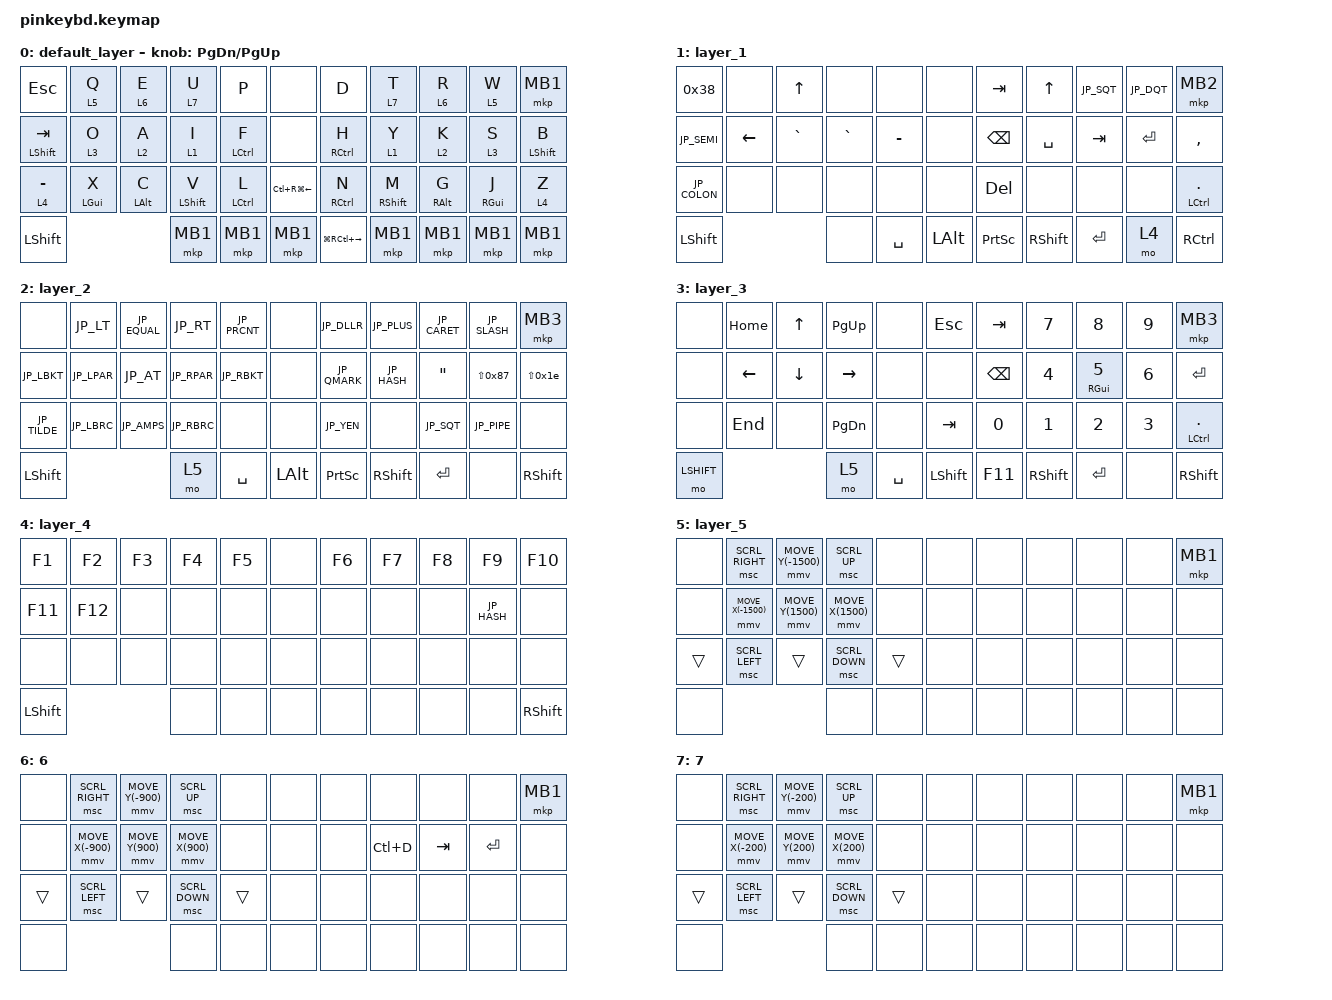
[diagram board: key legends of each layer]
#include "keycode_japanese.h"

#include "pinkeybd-layer.dtsi"
#include <input/processors.dtsi>
#include <behaviors.dtsi>
#include <dt-bindings/zmk/bt.h>
#include <dt-bindings/zmk/keys.h>
#include <dt-bindings/zmk/pointing.h>
#include "pinkeybd-layouts.dtsi"



#define ZMK_POINTING_DEFAULT_SCRL_VAL 80

&msc {
    acceleration-exponent = <0>;      // 0
    time-to-max-speed-ms = <0>;       // 300
    delay-ms = <0>;                   // 0
};

&mmv {
    time-to-max-speed-ms = <0>;
    acceleration-exponent = <0>;
    trigger-period-ms = <10>;
    delay-ms = <0>;
};

&mt { 
    flavor = "balanced"; 
    tapping-term-ms = <200>;
    quick-tap-ms = <150>; 
};

&lt {
    flavor = "balanced";
    tapping-term-ms = <200>; 
    quick-tap-ms = <150>; 
};

//    0  1  2  3  4  5              6  7  8  9  10 
//    11 12 13 14 15 16             17 18 19 20 21
//    22 23 24 25 26 27          37 28 29 30 31 32 
//    33       34 35 36             38 39 40 	41




/ {
    combos { compatible = "zmk,combos"; 

        lang {
            bindings = <&kp GRAVE>;
            key-positions = <1 3>;
            layers = <0>;
            timeout-ms = <200>;
        };

        fopen {
            bindings = <&kp LG(N2)>;
            key-positions = <6 10>;
            layers = <0>;
            timeout-ms = <200>;
        };

       bootloader_R {
            bindings = <&bootloader>;
            key-positions = <6 10 28 32>;
            timeout-ms = <200>;
        };

       bootloader_L {
            bindings = <&bootloader>;
            key-positions = <0 4 22 26>;
            timeout-ms = <200>;
        };

        eq {
            bindings = <&bt BT_CLR_ALL>;
            key-positions = <0 11 22>;
            timeout-ms = <50>;
            layers = <0>;
        };

        bt0 {
            bindings = <&bt BT_SEL 0>;
            key-positions = <6 17 28>;
            timeout-ms = <50>;
            layers = <0>;
        };

        bt1 {
            bindings = <&bt BT_SEL 1>;
            key-positions = <7 18 29>;
            layers = <0>;
        };

        bt2 {
            bindings = <&bt BT_SEL 2>;
            key-positions = <8 19 33>;
            layers = <0>;
        };

        mute {
            bindings = <&kp C_MUTE>;
            key-positions = <14 15>;
            layers = <0>;
        };

        vup {
            bindings = <&kp C_VOL_UP>;
            key-positions = <3 4>;
            layers = <0>;
        };

        vdn {
            bindings = <&kp C_VOL_DN>;
            key-positions = <25 26>;
            layers = <0>;
        };

        printscreen {
            bindings = <&kp PSCRN>;
            key-positions = <23 25>;
            layers = <0>;
        };


     };

};


/ {
    behaviors {
        rot_kp: sensor_rotate_kp {
            compatible = "zmk,behavior-sensor-rotate-var";
            #sensor-binding-cells = <2>;
            bindings = <&kp>, <&kp>;
        };
    };

    keymap {
        compatible = "zmk,keymap";


        default_layer {
            bindings = <
                &kp ESCAPE      &lt 5 Q    &lt 6 E    &lt 7 U       &kp P        &none                            &kp D        &lt 7 T       &lt 6 R     &lt 5 W     &mkp MB1
                &mt LSHIFT TAB  &lt 3 O    &lt 2 A    &lt 1 I       &mt LCTRL F  &none                            &mt RCTRL H  &lt 1 Y       &lt 2 K     &lt 3 S     &mt LEFT_SHIFT B
                &lt 4 MINUS     &mt LGUI X &mt LALT C &mt LSHIFT V  &mt LCTRL L  &kp LC(RG(LEFT))                 &mt RCTRL N  &mt RSHIFT M  &mt RALT G  &mt RGUI J  &lt 4 Z

                &kp LSHIFT                            &mkp MB1  &mkp MB1  &mkp MB1   &kp LG(RC(RIGHT))       &mkp MB1  &mkp MB1     &mkp MB1  &mkp MB1

            >;
            sensor-bindings = <&rot_kp PG_DN PG_UP>;
        };
    

        layer_1 {
            bindings = <
                &kp 0x38      &none      &kp UP     &none      &none      &none               &kp TAB        &kp UP     &kp JP_SQT  &kp JP_DQT  &mkp MB2
                &kp JP_SEMI   &kp LEFT   &kp GRAVE  &kp GRAVE  &kp MINUS  &none               &kp BACKSPACE  &kp SPACE  &kp TAB     &kp ENTER   &kp COMMA
                &kp JP_COLON  &none      &none      &none      &none      &none               &kp DELETE     &none      &none       &none       &mt LCTRL PERIOD
                
                &kp LSHIFT                              &none           &kp SPACE           &kp LALT            &kp PSCRN   &kp RSHIFT        &kp ENTER     &mo 4                &kp RCTRL
            >;  
        };

     
        layer_2 {
            bindings = <
            &none        &kp JP_LT      &kp JP_EQUAL   &kp JP_RT    &kp JP_PRCNT     &none                          &kp JP_DLLR   &kp JP_PLUS  &kp JP_CARET      &kp JP_SLASH  &mkp MB3
            &kp JP_LBKT  &kp JP_LPAR    &kp JP_AT      &kp JP_RPAR  &kp JP_RBKT      &none                          &kp JP_QMARK  &kp JP_HASH  &kp DOUBLE_QUOTES &kp LS(0x87)  &kp LS(0x1e)
            &kp JP_TILDE &kp JP_LBRC    &kp JP_AMPS    &kp JP_RBRC  &none            &none                          &kp JP_YEN    &none        &kp JP_SQT        &kp JP_PIPE   &none
                &kp LSHIFT                             &mo 5             &kp SPACE           &kp LALT                &kp PSCRN   &kp RSHIFT      &kp ENTER    &none                          &kp RSHIFT
            >;
        };

   
        layer_3 {
            bindings = <
                &none        &kp HOME   &kp UP     &kp PAGE_UP      &none      &kp ESC                         &kp TAB          &kp N7          &kp N8        &kp N9         &mkp MB3
                &none        &kp LEFT   &kp DOWN   &kp RIGHT        &none  &none                          &kp BACKSPACE  &kp N4          &mt RGUI N5        &kp N6         &kp ENTER
                &none        &kp END    &none      &kp PAGE_DOWN    &none      &kp TAB                        &kp N0         &kp N1          &kp N2        &kp N3         &mt LCTRL PERIOD
                &mo LSHIFT                             &mo 5     &kp SPACE   &kp LSHIFT          &kp F11   &kp RSHIFT   &kp ENTER   &none                  &kp RSHIFT
            >;
        };

        layer_4 {
            bindings = <
               &kp F1   &kp F2    &kp F3  &kp F4  &kp F5    &none                        &kp F6  &kp F7  &kp F8  &kp F9       &kp F10
               &kp F11  &kp F12   &none   &none   &none     &none                        &none   &none   &none   &kp JP_HASH  &none
               &none    &none     &none   &none   &none     &none                        &none   &none   &none   &none        &none
                &kp LSHIFT                             &none         &none       &none             &none      &none        &none        &none                  &kp RSHIFT
            >;
        };
 
        layer_5 {
            bindings = <
                &none   &msc SCRL_RIGHT    &mmv MOVE_Y(-1500)  &msc SCRL_UP       &none  &none                  &none   &none  &none  &none  &mkp MB1
                &none   &mmv MOVE_X(-1500) &mmv MOVE_Y(1500)   &mmv MOVE_X(1500)  &none  &none                  &none   &none  &none  &none  &none
                &trans  &msc SCRL_LEFT     &trans              &msc SCRL_DOWN     &trans &none                  &none   &none  &none  &none  &none
                &none                                  &none         &none        &none             &none       &none        &none        &none                     &none
            >;
        };

       6 {
            bindings = <
                &none  &msc SCRL_RIGHT   &mmv MOVE_Y(-900) &msc SCRL_UP      &none  &none                 &none  &none     &none    &none     &mkp MB1
                &none  &mmv MOVE_X(-900) &mmv MOVE_Y(900)  &mmv MOVE_X(900)  &none  &none                 &none  &kp LC(D) &kp TAB  &kp ENTER &none 
                &trans &msc SCRL_LEFT    &trans            &msc SCRL_DOWN    &trans &none                 &none  &none     &none    &none     &none
                &none                                  &none         &none        &none             &none       &none        &none        &none                     &none
            >;
        };

       7 {
            bindings = <
                &none  &msc SCRL_RIGHT   &mmv MOVE_Y(-200) &msc SCRL_UP      &none  &none                 &none  &none  &none  &none  &mkp MB1
                &none  &mmv MOVE_X(-200) &mmv MOVE_Y(200)  &mmv MOVE_X(200)  &none  &none                 &none  &none  &none  &none  &none
                &trans &msc SCRL_LEFT    &trans            &msc SCRL_DOWN    &trans &none                 &none  &none  &none  &none  &none
                &none                                  &none         &none        &none             &none       &none        &none        &none                     &none
            >;
        };



    };
};
